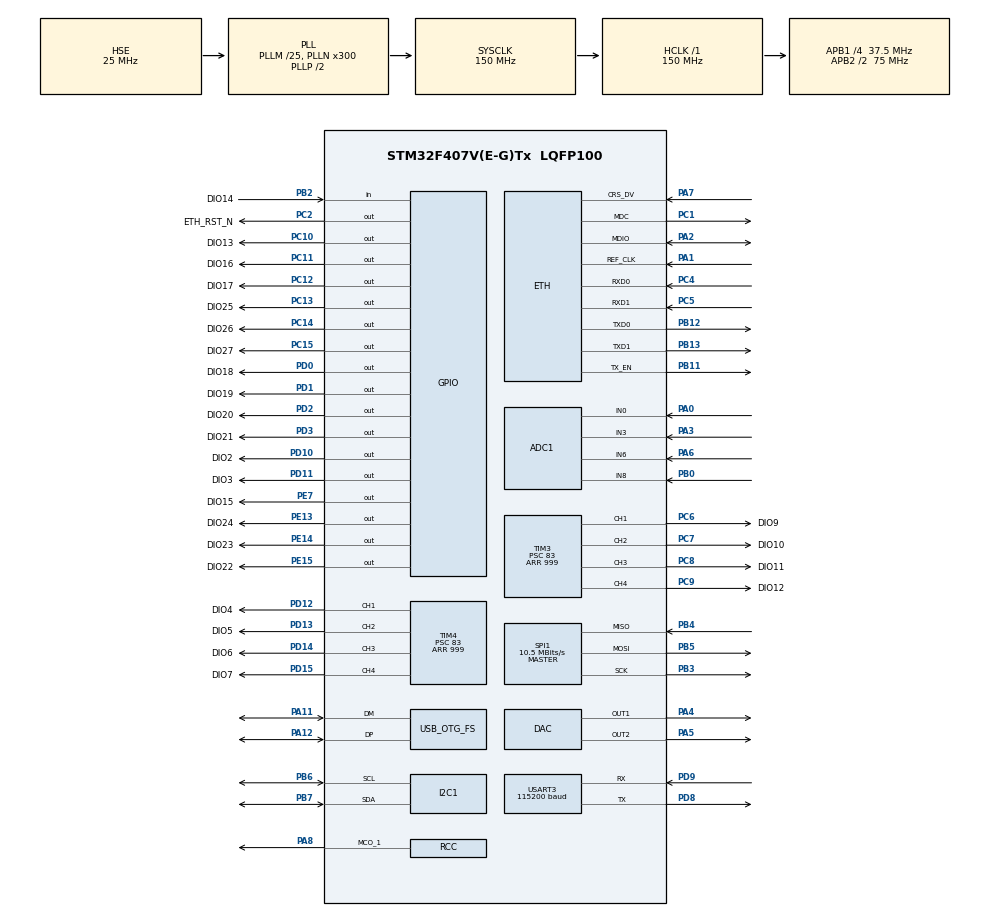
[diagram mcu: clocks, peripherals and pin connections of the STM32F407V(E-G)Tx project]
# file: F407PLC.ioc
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ADC1.Channel-0\#ChannelRegularConversion=ADC_CHANNEL_0
ADC1.Channel-1\#ChannelRegularConversion=ADC_CHANNEL_3
ADC1.Channel-2\#ChannelRegularConversion=ADC_CHANNEL_6
ADC1.Channel-3\#ChannelRegularConversion=ADC_CHANNEL_8
ADC1.ContinuousConvMode=ENABLE
ADC1.DMAContinuousRequests=ENABLE
ADC1.NbrOfConversion=4
ADC1.NbrOfConversionFlag=1
ADC1.Rank-0\#ChannelRegularConversion=1
ADC1.Rank-1\#ChannelRegularConversion=2
ADC1.Rank-2\#ChannelRegularConversion=3
ADC1.Rank-3\#ChannelRegularConversion=4
ADC1.SamplingTime-0\#ChannelRegularConversion=ADC_SAMPLETIME_84CYCLES
ADC1.SamplingTime-1\#ChannelRegularConversion=ADC_SAMPLETIME_84CYCLES
ADC1.SamplingTime-2\#ChannelRegularConversion=ADC_SAMPLETIME_84CYCLES
ADC1.SamplingTime-3\#ChannelRegularConversion=ADC_SAMPLETIME_84CYCLES
ADC1.ScanConvMode=ENABLE
ADC1.master=1
Dma.ADC1.0.Direction=DMA_PERIPH_TO_MEMORY
Dma.ADC1.0.FIFOMode=DMA_FIFOMODE_DISABLE
Dma.ADC1.0.Instance=DMA2_Stream0
Dma.ADC1.0.MemDataAlignment=DMA_MDATAALIGN_HALFWORD
Dma.ADC1.0.MemInc=DMA_MINC_ENABLE
Dma.ADC1.0.Mode=DMA_CIRCULAR
Dma.ADC1.0.PeriphDataAlignment=DMA_PDATAALIGN_HALFWORD
Dma.ADC1.0.PeriphInc=DMA_PINC_DISABLE
Dma.ADC1.0.Priority=DMA_PRIORITY_LOW
Dma.Request0=ADC1
Dma.Request1=USART3_RX
Dma.Request2=USART3_TX
Dma.USART3_RX.1.Direction=DMA_PERIPH_TO_MEMORY
Dma.USART3_RX.1.FIFOMode=DMA_FIFOMODE_DISABLE
Dma.USART3_RX.1.Instance=DMA1_Stream1
Dma.USART3_RX.1.MemDataAlignment=DMA_MDATAALIGN_BYTE
Dma.USART3_RX.1.MemInc=DMA_MINC_ENABLE
Dma.USART3_RX.1.Mode=DMA_CIRCULAR
Dma.USART3_RX.1.PeriphDataAlignment=DMA_PDATAALIGN_BYTE
Dma.USART3_RX.1.PeriphInc=DMA_PINC_DISABLE
Dma.USART3_RX.1.Priority=DMA_PRIORITY_LOW
Dma.USART3_TX.2.Direction=DMA_MEMORY_TO_PERIPH
Dma.USART3_TX.2.FIFOMode=DMA_FIFOMODE_DISABLE
Dma.USART3_TX.2.Instance=DMA1_Stream3
Dma.USART3_TX.2.MemDataAlignment=DMA_MDATAALIGN_BYTE
Dma.USART3_TX.2.MemInc=DMA_MINC_ENABLE
Dma.USART3_TX.2.Mode=DMA_NORMAL
Dma.USART3_TX.2.PeriphDataAlignment=DMA_PDATAALIGN_BYTE
Dma.USART3_TX.2.PeriphInc=DMA_PINC_DISABLE
Dma.USART3_TX.2.Priority=DMA_PRIORITY_LOW
ETH.MediaInterface=HAL_ETH_RMII_MODE
ETH.RxMode=ETH_RXINTERRUPT_MODE
FREERTOS.CHECK_FOR_STACK_OVERFLOW=2
FREERTOS.TOTAL_HEAP_SIZE=49152
FREERTOS.Tasks01=defaultTask,24,1024,StartDefaultTask,Default,NULL,Dynamic,NULL,NULL
FREERTOS.USE_MALLOC_FAILED_HOOK=1
FREERTOS.configENABLE_FPU=1
LWIP.BSP.number=1
LWIP.GATEWAY_ADDRESS=192.168.1.1
LWIP.IP_ADDRESS=192.168.1.100
LWIP.LWIP_DHCP=1
LWIP.LWIP_DNS=0
LWIP.LWIP_NETIF_EXT_STATUS_CALLBACK=1
LWIP.LWIP_NETIF_HOSTNAME=1
LWIP.LWIP_SO_RCVTIMEO=1
LWIP.MEMP_NUM_SYS_TIMEOUT=8
LWIP.MEMP_NUM_TCP_PCB=8
LWIP.MEMP_NUM_UDP_PCB=8
LWIP.MEM_SIZE=16384
LWIP.NETMASK_ADDRESS=255.255.255.0
LWIP.TCPIP_THREAD_STACKSIZE=2048
LWIP.Version=v2.1.2_Cube
LWIP0.BSP.STBoard=false
LWIP0.BSP.api=BSP_COMPONENT_DRIVER
LWIP0.BSP.component=DP83848
LWIP0.BSP.instance=DP83848
LWIP0.BSP.name=Driver_PHY
LWIP0.BSP.semaphore=S_DP83848
LWIP0.BSP.solution=DP83848
Mcu.Family=STM32F4
Mcu.Name=STM32F407V(E-G)Tx
Mcu.Package=LQFP100
NVIC.DMA1_Stream1_IRQn=true\:5\:0\:false\:false\:true\:true\:true\:true\:true
NVIC.DMA1_Stream3_IRQn=true\:5\:0\:false\:false\:true\:true\:true\:true\:true
NVIC.DMA2_Stream0_IRQn=true\:5\:0\:false\:false\:true\:true\:true\:true\:true
NVIC.ETH_IRQn=true\:5\:0\:false\:false\:true\:true\:false\:true\:true
NVIC.OTG_FS_IRQn=true\:5\:0\:false\:false\:true\:true\:false\:true\:true
NVIC.PriorityGroup=NVIC_PRIORITYGROUP_4
NVIC.TIM1_UP_TIM10_IRQn=true\:15\:0\:false\:false\:true\:false\:false\:true\:true
NVIC.TimeBase=TIM1_UP_TIM10_IRQn
NVIC.TimeBaseIP=TIM1
NVIC.USART3_IRQn=true\:5\:0\:false\:false\:true\:true\:true\:true\:true
PA0-WKUP.Signal=ADCx_IN0
PA1.GPIO_Speed=GPIO_SPEED_FREQ_VERY_HIGH
PA1.Mode=RMII
PA1.Signal=ETH_REF_CLK
PA11.Mode=Device_Only
PA11.Signal=USB_OTG_FS_DM
PA12.Mode=Device_Only
PA12.Signal=USB_OTG_FS_DP
PA13.Mode=Serial_Wire
PA13.Signal=SYS_JTMS-SWDIO
PA14.Mode=Serial_Wire
PA14.Signal=SYS_JTCK-SWCLK
PA2.GPIO_Speed=GPIO_SPEED_FREQ_VERY_HIGH
PA2.Mode=RMII
PA2.Signal=ETH_MDIO
PA3.Signal=ADCx_IN3
PA4.Signal=COMP_DAC1_group
PA5.Signal=COMP_DAC2_group
PA6.Signal=ADCx_IN6
PA7.GPIO_Speed=GPIO_SPEED_FREQ_VERY_HIGH
PA7.Mode=RMII
PA7.Signal=ETH_CRS_DV
PA8.GPIO_Speed=GPIO_SPEED_FREQ_VERY_HIGH
PA8.Mode=Clock-out-1
PA8.Signal=RCC_MCO_1
PB0.Signal=ADCx_IN8
PB11.GPIO_Speed=GPIO_SPEED_FREQ_VERY_HIGH
PB11.Mode=RMII
PB11.Signal=ETH_TX_EN
PB12.GPIO_Speed=GPIO_SPEED_FREQ_VERY_HIGH
PB12.Mode=RMII
PB12.Signal=ETH_TXD0
PB13.GPIO_Speed=GPIO_SPEED_FREQ_VERY_HIGH
PB13.Mode=RMII
PB13.Signal=ETH_TXD1
PB2.GPIO_Label=DIO14
PB2.Signal=GPIO_Input
PB3.Mode=Full_Duplex_Master
PB3.Signal=SPI1_SCK
PB4.Mode=Full_Duplex_Master
PB4.Signal=SPI1_MISO
PB5.Mode=Full_Duplex_Master
PB5.Signal=SPI1_MOSI
PB6.Mode=I2C
PB6.Signal=I2C1_SCL
PB7.Mode=I2C
PB7.Signal=I2C1_SDA
PC1.GPIO_Speed=GPIO_SPEED_FREQ_VERY_HIGH
PC1.Mode=RMII
PC1.Signal=ETH_MDC
PC10.GPIO_Label=DIO13
PC10.Signal=GPIO_Output
PC11.GPIO_Label=DIO16
PC11.Signal=GPIO_Output
PC12.GPIO_Label=DIO17
PC12.Signal=GPIO_Output
PC13-ANTI_TAMP.GPIO_Label=DIO25
PC13-ANTI_TAMP.Signal=GPIO_Output
PC14-OSC32_IN.GPIO_Label=DIO26
PC14-OSC32_IN.Signal=GPIO_Output
PC15-OSC32_OUT.GPIO_Label=DIO27
PC15-OSC32_OUT.Signal=GPIO_Output
PC2.GPIO_Label=ETH_RST_N
PC2.PinState=GPIO_PIN_SET
PC2.Signal=GPIO_Output
PC4.GPIO_Speed=GPIO_SPEED_FREQ_VERY_HIGH
PC4.Mode=RMII
PC4.Signal=ETH_RXD0
PC5.GPIO_Speed=GPIO_SPEED_FREQ_VERY_HIGH
PC5.Mode=RMII
PC5.Signal=ETH_RXD1
PC6.GPIO_Label=DIO9
PC6.Signal=S_TIM3_CH1
PC7.GPIO_Label=DIO10
PC7.Signal=S_TIM3_CH2
PC8.GPIO_Label=DIO11
PC8.Signal=S_TIM3_CH3
PC9.GPIO_Label=DIO12
PC9.Signal=S_TIM3_CH4
PD0.GPIO_Label=DIO18
PD0.Signal=GPIO_Output
PD1.GPIO_Label=DIO19
PD1.Signal=GPIO_Output
PD10.GPIO_Label=DIO2
PD10.Signal=GPIO_Output
PD11.GPIO_Label=DIO3
PD11.Signal=GPIO_Output
PD12.GPIO_Label=DIO4
PD12.Signal=S_TIM4_CH1
PD13.GPIO_Label=DIO5
PD13.Signal=S_TIM4_CH2
PD14.GPIO_Label=DIO6
PD14.Signal=S_TIM4_CH3
PD15.GPIO_Label=DIO7
PD15.Signal=S_TIM4_CH4
PD2.GPIO_Label=DIO20
PD2.Signal=GPIO_Output
PD3.GPIO_Label=DIO21
PD3.Signal=GPIO_Output
PD8.Mode=Asynchronous
PD8.Signal=USART3_TX
PD9.Mode=Asynchronous
PD9.Signal=USART3_RX
PE13.GPIO_Label=DIO24
PE13.Signal=GPIO_Output
PE14.GPIO_Label=DIO23
PE14.Signal=GPIO_Output
PE15.GPIO_Label=DIO22
PE15.Signal=GPIO_Output
PE7.GPIO_Label=DIO15
PE7.Signal=GPIO_Output
PH0-OSC_IN.Mode=HSE-External-Oscillator
PH0-OSC_IN.Signal=RCC_OSC_IN
PH1-OSC_OUT.Mode=HSE-External-Oscillator
PH1-OSC_OUT.Signal=RCC_OSC_OUT
ProjectManager.HeapSize=0x200
ProjectManager.StackSize=0x800
ProjectManager.TargetToolchain=CMake
RCC.48MHZClocksFreq_Value=42857142.85714286
RCC.AHBCLKDivider=RCC_SYSCLK_DIV1
RCC.AHBFreq_Value=150000000
RCC.APB1CLKDivider=RCC_HCLK_DIV4
RCC.APB1Freq_Value=37500000
RCC.APB1TimFreq_Value=75000000
RCC.APB2CLKDivider=RCC_HCLK_DIV2
RCC.APB2Freq_Value=75000000
RCC.APB2TimFreq_Value=150000000
RCC.CortexFreq_Value=150000000
RCC.HCLKFreq_Value=150000000
RCC.HSE_VALUE=25000000
RCC.HSI_VALUE=16000000
RCC.LSE_VALUE=32768
RCC.PLLM=25
RCC.PLLN=300
RCC.PLLP=RCC_PLLP_DIV2
RCC.PLLQ=7
RCC.RCC_MCO1Source=RCC_MCO1SOURCE_PLLCLK
RCC.RCC_MCODiv1=RCC_MCODIV_3
RCC.SYSCLKFreq_VALUE=150000000
RCC.SYSCLKSource=RCC_SYSCLKSOURCE_PLLCLK
RCC.VCOOutputFreq_Value=300000000
SH.ADCx_IN0.0=ADC1_IN0,IN0
SH.ADCx_IN3.0=ADC1_IN3,IN3
SH.ADCx_IN6.0=ADC1_IN6,IN6
SH.ADCx_IN8.0=ADC1_IN8,IN8
SH.COMP_DAC1_group.0=DAC_OUT1,DAC_OUT1
SH.COMP_DAC2_group.0=DAC_OUT2,DAC_OUT2
SH.S_TIM3_CH1.0=TIM3_CH1,PWM Generation1 CH1
SH.S_TIM3_CH2.0=TIM3_CH2,PWM Generation2 CH2
SH.S_TIM3_CH3.0=TIM3_CH3,PWM Generation3 CH3
SH.S_TIM3_CH4.0=TIM3_CH4,PWM Generation4 CH4
SH.S_TIM4_CH1.0=TIM4_CH1,PWM Generation1 CH1
SH.S_TIM4_CH2.0=TIM4_CH2,PWM Generation2 CH2
SH.S_TIM4_CH3.0=TIM4_CH3,PWM Generation3 CH3
SH.S_TIM4_CH4.0=TIM4_CH4,PWM Generation4 CH4
SPI1.BaudRatePrescaler=SPI_BAUDRATEPRESCALER_8
SPI1.CalculateBaudRate=10.5 MBits/s
SPI1.Direction=SPI_DIRECTION_2LINES
SPI1.Mode=SPI_MODE_MASTER
SPI1.VirtualType=VM_MASTER
TIM3.Channel-PWM\ Generation1\ CH1=TIM_CHANNEL_1
TIM3.Channel-PWM\ Generation2\ CH2=TIM_CHANNEL_2
TIM3.Channel-PWM\ Generation3\ CH3=TIM_CHANNEL_3
TIM3.Channel-PWM\ Generation4\ CH4=TIM_CHANNEL_4
TIM3.Period=999
TIM3.Prescaler=83
TIM4.Channel-PWM\ Generation1\ CH1=TIM_CHANNEL_1
TIM4.Channel-PWM\ Generation2\ CH2=TIM_CHANNEL_2
TIM4.Channel-PWM\ Generation3\ CH3=TIM_CHANNEL_3
TIM4.Channel-PWM\ Generation4\ CH4=TIM_CHANNEL_4
TIM4.Period=999
TIM4.Prescaler=83
USART3.BaudRate=115200
USART3.VirtualMode=VM_ASYNC
USB_DEVICE.CLASS_NAME_FS=CDC
USB_DEVICE.VirtualMode-CDC_FS=Cdc
USB_DEVICE.VirtualModeFS=Cdc_FS
USB_OTG_FS.VirtualMode=Device_Only
VP_CRC_VS_CRC.Mode=CRC_Activate
VP_FREERTOS_VS_CMSIS_V2.Mode=CMSIS_V2
VP_IWDG_VS_IWDG.Mode=IWDG_Activate
VP_LWIP_VS_Enabled.Mode=Enabled
VP_RNG_VS_RNG.Mode=RNG_Activate
VP_RTC_VS_RTC_Activate.Mode=RTC_Enabled
VP_RTC_VS_RTC_Calendar.Mode=RTC_Calendar
VP_SYS_VS_tim1.Mode=TIM1
VP_USB_DEVICE_VS_USB_DEVICE_CDC_FS.Mode=CDC_FS
board=custom

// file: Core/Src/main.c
/* USER CODE BEGIN Header */
/**
  ******************************************************************************
  * @file           : main.c
  * @brief          : Main program body
  ******************************************************************************
  * @attention
  *
  * Copyright (c) 2026 STMicroelectronics.
  * All rights reserved.
  *
  * This software is licensed under terms that can be found in the LICENSE file
  * in the root directory of this software component.
  * If no LICENSE file comes with this software, it is provided AS-IS.
  *
  ******************************************************************************
  */
/* USER CODE END Header */
#include "main.h"
#include "cmsis_os.h"
#include "adc.h"
#include "crc.h"
#include "dac.h"
#include "dma.h"
#include "i2c.h"
#include "iwdg.h"
#include "lwip.h"
#include "rng.h"
#include "rtc.h"
#include "spi.h"
#include "tim.h"
#include "usart.h"
#include "usb_device.h"
#include "gpio.h"

/* USER CODE BEGIN Includes */
#include "plc_hal.h"
/* USER CODE END Includes */

/* USER CODE BEGIN PV */
volatile uint16_t plc_adc_raw[4] = {0};
/* USER CODE END PV */

void SystemClock_Config(void);
void MX_FREERTOS_Init(void);

int main(void)
{

  /* MCU Configuration--------------------------------------------------------*/

  /* Reset of all peripherals, Initializes the Flash interface and the Systick. */
  HAL_Init();

  /* Configure the system clock */
  SystemClock_Config();

  /* USER CODE BEGIN SysInit */
  // Switch PLL to 168 MHz (48 MHz exact USB clock) only in USB CDC mode; ETH mode keeps 150 MHz + 50 MHz MCO1
  if (!PLC_HAL_IsEthMode()) {
    PLC_HAL_ConfigClockUsb168MHz();
  }
  /* USER CODE END SysInit */

  /* Initialize all configured peripherals */
  MX_GPIO_Init();
  MX_DMA_Init();
  MX_ADC1_Init();
  MX_CRC_Init();
  MX_DAC_Init();
  MX_I2C1_Init();
  MX_IWDG_Init();
  MX_RNG_Init();
  MX_RTC_Init();
  MX_SPI1_Init();
  MX_TIM3_Init();
  MX_TIM4_Init();
  MX_USART3_UART_Init();
  /* USER CODE BEGIN 2 */
  /* Freeze IWDG when halted in debugger */
  __HAL_DBGMCU_FREEZE_IWDG();
  HAL_IWDG_Refresh(&hiwdg);

  /* Hardware reset Ethernet PHY (PC2 = !ETH_RST) before LwIP starts */
  HAL_GPIO_WritePin(ETH_RST_N_GPIO_Port, ETH_RST_N_Pin, GPIO_PIN_RESET);
  HAL_Delay(20);
  HAL_GPIO_WritePin(ETH_RST_N_GPIO_Port, ETH_RST_N_Pin, GPIO_PIN_SET);
  HAL_Delay(50);
  HAL_IWDG_Refresh(&hiwdg);

  /* Start 4-channel continuous ADC1 DMA into plc_adc_raw[] */
  HAL_ADC_Start_DMA(&hadc1, (uint32_t *)plc_adc_raw, 4);

  /* Start DAC channels 1 & 2 at mid-scale (~1.65V) */
  HAL_DAC_Start(&hdac, DAC_CHANNEL_1);
  HAL_DAC_Start(&hdac, DAC_CHANNEL_2);
  HAL_DAC_SetValue(&hdac, DAC_CHANNEL_1, DAC_ALIGN_12B_R, 2048);
  HAL_DAC_SetValue(&hdac, DAC_CHANNEL_2, DAC_ALIGN_12B_R, 2048);

  /* Start PWM outputs on TIM3 (DIO9-12) and TIM4 (DIO4-7) */
  HAL_TIM_PWM_Start(&htim3, TIM_CHANNEL_1);
  HAL_TIM_PWM_Start(&htim3, TIM_CHANNEL_2);
  HAL_TIM_PWM_Start(&htim3, TIM_CHANNEL_3);
  HAL_TIM_PWM_Start(&htim3, TIM_CHANNEL_4);

  HAL_TIM_PWM_Start(&htim4, TIM_CHANNEL_1);
  HAL_TIM_PWM_Start(&htim4, TIM_CHANNEL_2);
  HAL_TIM_PWM_Start(&htim4, TIM_CHANNEL_3);
  HAL_TIM_PWM_Start(&htim4, TIM_CHANNEL_4);
  /* USER CODE END 2 */

  /* Init scheduler */
  osKernelInitialize();  /* Call init function for freertos objects (in cmsis_os2.c) */
  MX_FREERTOS_Init();

  /* Start scheduler */
  osKernelStart();

  /* We should never get here as control is now taken by the scheduler */

  /* Infinite loop */
  while (1)
  {

  }
}

void SystemClock_Config(void)
{
  RCC_OscInitTypeDef RCC_OscInitStruct = {0};
  RCC_ClkInitTypeDef RCC_ClkInitStruct = {0};

  /** Configure the main internal regulator output voltage
  */
  __HAL_RCC_PWR_CLK_ENABLE();
  __HAL_PWR_VOLTAGESCALING_CONFIG(PWR_REGULATOR_VOLTAGE_SCALE1);

  /** Initializes the RCC Oscillators according to the specified parameters
  * in the RCC_OscInitTypeDef structure.
  */
  RCC_OscInitStruct.OscillatorType = RCC_OSCILLATORTYPE_LSI|RCC_OSCILLATORTYPE_HSE;
  RCC_OscInitStruct.HSEState = RCC_HSE_ON;
  RCC_OscInitStruct.LSIState = RCC_LSI_ON;
  RCC_OscInitStruct.PLL.PLLState = RCC_PLL_ON;
  RCC_OscInitStruct.PLL.PLLSource = RCC_PLLSOURCE_HSE;
  RCC_OscInitStruct.PLL.PLLM = 25;
  RCC_OscInitStruct.PLL.PLLN = 300;
  RCC_OscInitStruct.PLL.PLLP = RCC_PLLP_DIV2;
  RCC_OscInitStruct.PLL.PLLQ = 7;
  if (HAL_RCC_OscConfig(&RCC_OscInitStruct) != HAL_OK)
  {
    Error_Handler();
  }

  /** Initializes the CPU, AHB and APB buses clocks
  */
  RCC_ClkInitStruct.ClockType = RCC_CLOCKTYPE_HCLK|RCC_CLOCKTYPE_SYSCLK
                              |RCC_CLOCKTYPE_PCLK1|RCC_CLOCKTYPE_PCLK2;
  RCC_ClkInitStruct.SYSCLKSource = RCC_SYSCLKSOURCE_PLLCLK;
  RCC_ClkInitStruct.AHBCLKDivider = RCC_SYSCLK_DIV1;
  RCC_ClkInitStruct.APB1CLKDivider = RCC_HCLK_DIV4;
  RCC_ClkInitStruct.APB2CLKDivider = RCC_HCLK_DIV2;

  if (HAL_RCC_ClockConfig(&RCC_ClkInitStruct, FLASH_LATENCY_5) != HAL_OK)
  {
    Error_Handler();
  }
  HAL_RCC_MCOConfig(RCC_MCO1, RCC_MCO1SOURCE_PLLCLK, RCC_MCODIV_3);
}

void HAL_TIM_PeriodElapsedCallback(TIM_HandleTypeDef *htim)
{
  if (htim->Instance == TIM1)
  {
    HAL_IncTick();
  }
}

void Error_Handler(void)
{
  __disable_irq();
  while (1)
  {
  }
}

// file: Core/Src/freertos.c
/* USER CODE BEGIN Header */
/**
  ******************************************************************************
  * File Name          : freertos.c
  * Description        : Code for freertos applications
  ******************************************************************************
  * @attention
  *
  * Copyright (c) 2026 STMicroelectronics.
  * All rights reserved.
  *
  * This software is licensed under terms that can be found in the LICENSE file
  * in the root directory of this software component.
  * If no LICENSE file comes with this software, it is provided AS-IS.
  *
  ******************************************************************************
  */
/* USER CODE END Header */

#include "FreeRTOS.h"
#include "task.h"
#include "main.h"
#include "cmsis_os.h"

/* USER CODE BEGIN Includes */
#include "iwdg.h"
#include "plc_hal.h"
/* USER CODE END Includes */

/* USER CODE BEGIN Variables */
static osThreadId_t g_freertos_vmTaskHandle;
static const osThreadAttr_t kVmTaskAttr = {
  .name       = "vmScanTask",
  .stack_size = 1024U * 4U,
  .priority   = (osPriority_t) osPriorityAboveNormal,
};
/* USER CODE END Variables */
/* Definitions for defaultTask */
osThreadId_t defaultTaskHandle;
const osThreadAttr_t defaultTask_attributes = {
  .name = "defaultTask",
  .stack_size = 1024 * 4,
  .priority = (osPriority_t) osPriorityNormal,
};

/* USER CODE BEGIN FunctionPrototypes */
static void vm_scan_task(void *p_argument);
/* USER CODE END FunctionPrototypes */

void StartDefaultTask(void *argument);

extern void MX_USB_DEVICE_Init(void);
extern void MX_LWIP_Init(void);
void MX_FREERTOS_Init(void); /* (MISRA C 2004 rule 8.1) */

void MX_FREERTOS_Init(void) {

  /* Create the thread(s) */
  /* creation of defaultTask */
  defaultTaskHandle = osThreadNew(StartDefaultTask, NULL, &defaultTask_attributes);

  /* USER CODE BEGIN RTOS_THREADS */
  g_freertos_vmTaskHandle = osThreadNew(vm_scan_task, NULL, &kVmTaskAttr);
  /* USER CODE END RTOS_THREADS */

}

void StartDefaultTask(void *argument)
{
  /* init code for USB_DEVICE or LWIP depending on persisted mode */
  if (PLC_HAL_IsEthMode()) {
    MX_LWIP_Init();
  } else {
    MX_USB_DEVICE_Init();
  }
  /* USER CODE BEGIN StartDefaultTask */
  PLC_HAL_Init();

  for (;;) {
    HAL_IWDG_Refresh(&hiwdg);
    PLC_HAL_PollProtocol();
    osDelay(1);
  }
  /* USER CODE END StartDefaultTask */
}

/* USER CODE BEGIN Application */
static void vm_scan_task(void *p_argument)
{
  (void)p_argument;
  uint32_t tick5msCount = 0U;
  uint32_t lastWake_ms  = osKernelGetTickCount();

  for (;;) {
    PLC_HAL_StepVmTick(tick5msCount);
    tick5msCount++;
    lastWake_ms += 5U;
    osDelayUntil(lastWake_ms);
  }
}
/* USER CODE END Application */
